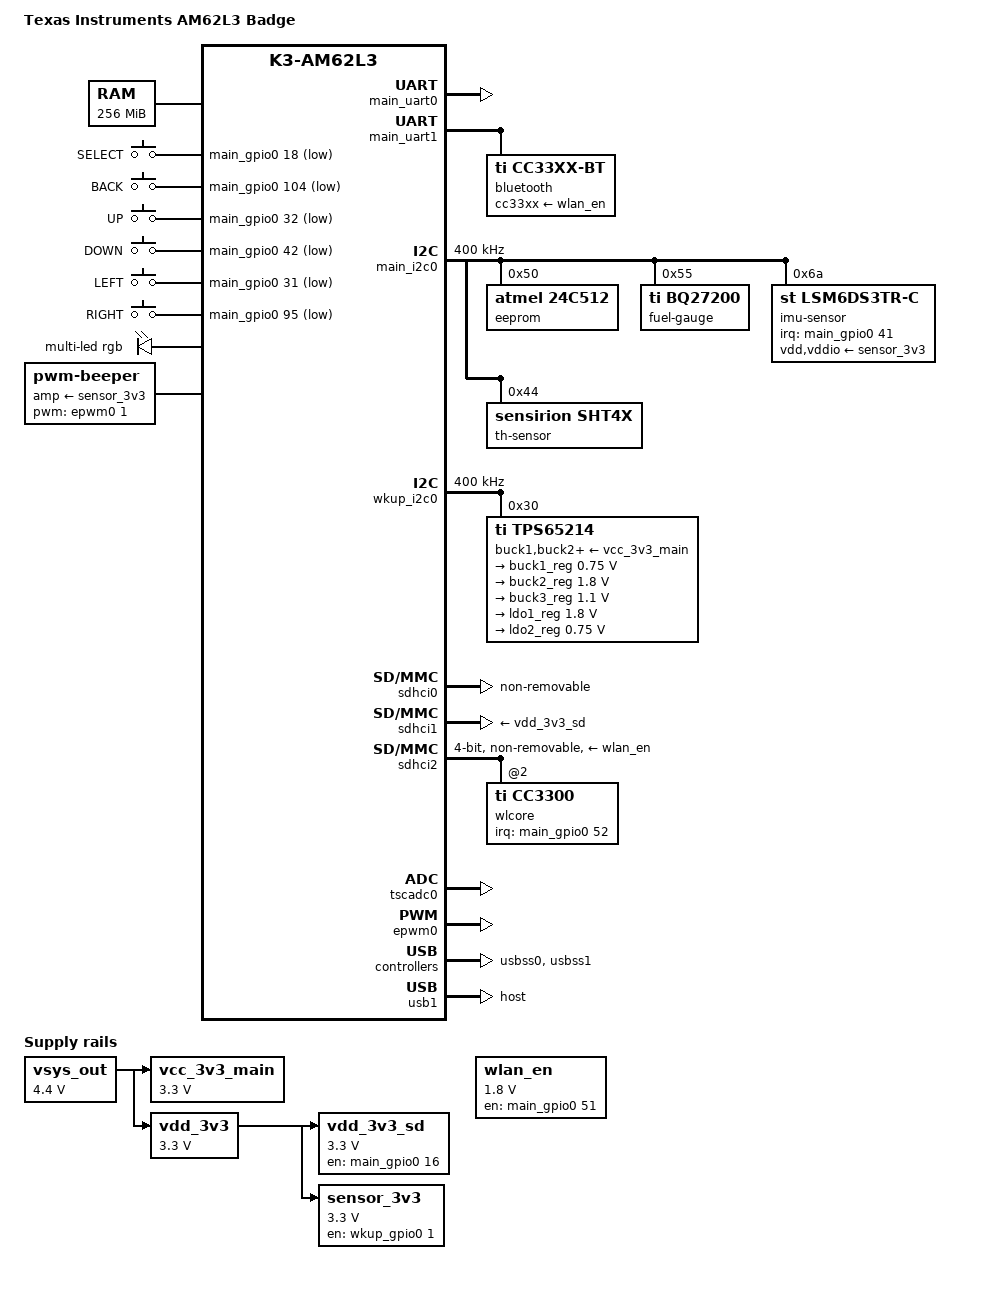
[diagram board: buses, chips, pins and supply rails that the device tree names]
// SPDX-License-Identifier: GPL-2.0-only or MIT
/*
 * Device Tree file for the AM62L3 Badge
 *
 * Copyright (C) 2025 Texas Instruments Incorporated - https://www.ti.com/
 */

/dts-v1/;

#include <dt-bindings/gpio/gpio.h>
#include <dt-bindings/input/input.h>
#include <dt-bindings/leds/common.h>
#include <dt-bindings/net/ti-dp83867.h>
#include "k3-am62l3.dtsi"
#include "k3-pinctrl.h"

/ {
	compatible = "ti,am62l3-badge", "ti,am62l3";
	model = "Texas Instruments AM62L3 Badge";

	aliases {
		gpio0 = &main_gpio0;
		i2c0 = &main_i2c0;
		mmc0 = &sdhci0;
		mmc1 = &sdhci1;
		mmc2 = &sdhci2;
		serial3 = &main_uart1;
		usb0 = &usb0;
		usb1 = &usb1;
	};

	memory@80000000 {
		/* 2Gb */
		reg = <0x00000000 0x80000000 0x00000000 0x10000000>;
		device_type = "memory";
		bootph-all;
	};

	gpio_keys: gpio-keys {
		compatible = "gpio-keys";
		autorepeat;
		pinctrl-names = "default";
		pinctrl-0 = <&main_usr_button_default_pins>;

		button-select {
			label = "SELECT";
			linux,code = <KEY_SELECT>;
			gpios = <&main_gpio0 18 GPIO_ACTIVE_LOW>;
		};

		button-back {
			label = "BACK";
			linux,code = <KEY_BACK>;
			gpios = <&main_gpio0 104 GPIO_ACTIVE_LOW>;
		};

		button-up {
			label = "UP";
			linux,code = <KEY_UP>;
			gpios = <&main_gpio0 32 GPIO_ACTIVE_LOW>;
		};

		button-down {
			label = "DOWN";
			linux,code = <KEY_DOWN>;
			gpios = <&main_gpio0 42 GPIO_ACTIVE_LOW>;
		};

		button-left {
			label = "LEFT";
			linux,code = <KEY_LEFT>;
			gpios = <&main_gpio0 31 GPIO_ACTIVE_LOW>;
		};

		button-right {
			label = "RIGHT";
			linux,code = <KEY_RIGHT>;
			gpios = <&main_gpio0 95 GPIO_ACTIVE_LOW>;
		};
	};

	multicolor-led {
		compatible = "pwm-leds-multicolor";
		pinctrl-names = "default";
		pinctrl-0 = <&rgb_led_default_pins>;

		multi-led {
			color = <LED_COLOR_ID_RGB>;
			max-brightness = <255>;

			led-red {
				pwms = <&ecap2 0 255 0>;
				color = <LED_COLOR_ID_RED>;
			};

			led-green {
				pwms = <&ecap1 0 255 0>;
				color = <LED_COLOR_ID_GREEN>;
			};

			led-blue {
				pwms = <&epwm1 1 255 0>;
				color = <LED_COLOR_ID_BLUE>;
			};
		};
	};

	pwm-beeper {
		compatible = "pwm-beeper";
		pinctrl-names = "default";
		pinctrl-0 = <&main_epwm0_default_pins>;
		pwms = <&epwm0 1 1000000 0>;
		amp-supply = <&sensor_3v3>;
	};

	vsys_out: regulator-0 {
		/* output of BQ24070 */
		compatible = "regulator-fixed";
		regulator-name = "VSYS_OUT";
		regulator-min-microvolt = <4400000>;
		regulator-max-microvolt = <4400000>;
		regulator-always-on;
		regulator-boot-on;
		bootph-all;
	};

	vcc_3v3_main: regulator-1 {
		/* output of TPS62A06 */
		compatible = "regulator-fixed";
		regulator-name = "VCC_3V3_MAIN";
		regulator-min-microvolt = <3300000>;
		regulator-max-microvolt = <3300000>;
		vin-supply = <&vsys_out>;
		regulator-always-on;
		regulator-boot-on;
		bootph-all;
	};

	vdd_3v3: regulator-2 {
		/* output of TPS22965 */
		compatible = "regulator-fixed";
		regulator-name = "VDD_3V3";
		regulator-min-microvolt = <3300000>;
		regulator-max-microvolt = <3300000>;
		vin-supply = <&vsys_out>;
		regulator-always-on;
		regulator-boot-on;
		bootph-all;
	};

	vdd_3v3_sd: regulator-3 {
		/* TPS22918DBVR */
		compatible = "regulator-fixed";
		regulator-name = "VDD_3V3_SD";
		regulator-min-microvolt = <3300000>;
		regulator-max-microvolt = <3300000>;
		vin-supply = <&vdd_3v3>;
		regulator-boot-on;
		enable-active-high;
		gpio = <&main_gpio0 16 GPIO_ACTIVE_HIGH>;
		bootph-all;
	};

	sensor_3v3: regulator-4 {
		/* TPS22918DBVR */
		compatible = "regulator-fixed";
		regulator-name = "Sensor_3V3";
		regulator-min-microvolt = <3300000>;
		regulator-max-microvolt = <3300000>;
		vin-supply = <&vdd_3v3>;
		regulator-boot-on;
		enable-active-high;
		gpio = <&wkup_gpio0 1 GPIO_ACTIVE_HIGH>;
		bootph-all;
	};

	wlan_en: regulator-5 {
		compatible = "regulator-fixed";
		regulator-name = "wlan_en";
		regulator-min-microvolt = <1800000>;
		regulator-max-microvolt = <1800000>;
		enable-active-high;
		gpios = <&main_gpio0 51 GPIO_ACTIVE_HIGH>;
		pinctrl-names = "default";
		pinctrl-0 = <&wlan_en_pins_default>;
	};
};

&pmx0 {
	main_uart0_default_pins: main-uart0-default-pins {
		pinctrl-single,pins = <
			AM62LX_IOPAD(0x01b8, PIN_OUTPUT, 0) /* (C13) UART0_TXD */
			AM62LX_IOPAD(0x01b4, PIN_INPUT, 0) /* (D13) UART0_RXD */
		>;
		bootph-all;
	};

	main_uart0_wakeup_pins: main-uart0-wakeup-pins {
		pinctrl-single,pins = <
			AM62LX_IOPAD(0x01b8, PIN_OUTPUT, 0) /* (C13) UART0_TXD */
			AM62LX_IOPAD(0x01b4, PIN_INPUT | PIN_WKUP_EN, 0) /* (D13) UART0_RXD */
		>;
	};

	main_uart1_default_pins: main-uart1-default-pins {
		pinctrl-single,pins = <
			AM62LX_IOPAD(0x019c, PIN_OUTPUT, 2) /* (A12) UART1_TXD */
			AM62LX_IOPAD(0x0198, PIN_INPUT, 2) /* (C11) UART1_RXD */
			AM62LX_IOPAD(0x0180, PIN_INPUT, 2) /* (A8) UART1_CTS */
			AM62LX_IOPAD(0x0184, PIN_OUTPUT, 2) /* (B10) UART1_RTS */
		>;
	};

	main_usr_button_default_pins: main-usr_button-default-pins {
		pinctrl-single,pins = <
			AM62LX_IOPAD(0x0084, PIN_INPUT, 7) /* (J23) GPMC0_AD3.GPIO0_18 | SELECT */
			AM62LX_IOPAD(0x0090, PIN_INPUT, 7) /* (H23) GPMC0_AD6.GPIO0_21 | SELECT */
			AM62LX_IOPAD(0x00a4, PIN_INPUT, 7) /* (H18) GPMC0_AD11.GPIO0_26 | SELECT */
			AM62LX_IOPAD(0x01e4, PIN_INPUT, 7) /* (D16) EXT_REFCLK1.GPIO0_104 | BACK*/
			AM62LX_IOPAD(0x00c0, PIN_INPUT, 7) /* (N19) GPMC0_ADVn_ALE.GPIO0_32 | UP */
			AM62LX_IOPAD(0x00e8, PIN_INPUT, 7) /* (L19) GPMC0_CSn1.GPIO0_42 | DOWN */
			AM62LX_IOPAD(0x00b8, PIN_INPUT, 7) /* (L21) GPMC0_CLK.GPIO0_31 | LEFT */
			AM62LX_IOPAD(0x01c0, PIN_INPUT, 7) /* (B13) UART0_RTSn.GPIO0_95 | RIGHT */
		>;
	};

	main_i2c0_default_pins: main-i2c0-default-pins {
		pinctrl-single,pins = <
			AM62LX_IOPAD(0x01cc, PIN_INPUT_PULLUP, 0) /* (B7) I2C0_SCL */
			AM62LX_IOPAD(0x01d0, PIN_INPUT_PULLUP, 0) /* (A7) I2C0_SDA */
		>;
	};

	main_mmc0_default_pins: main-mmc0-default-pins {
		pinctrl-single,pins = <
			AM62LX_IOPAD(0x0214, PIN_INPUT, 0) /* (D2) MMC0_CMD */
			AM62LX_IOPAD(0x020c, PIN_OUTPUT, 0) /* (B2) MMC0_CLK */
			AM62LX_IOPAD(0x0208, PIN_INPUT, 0) /* (D3) MMC0_DAT0 */
			AM62LX_IOPAD(0x0204, PIN_INPUT_PULLUP, 0) /* (D4) MMC0_DAT1 */
			AM62LX_IOPAD(0x0200, PIN_INPUT_PULLUP, 0) /* (C1) MMC0_DAT2 */
			AM62LX_IOPAD(0x01fc, PIN_INPUT_PULLUP, 0) /* (C2) MMC0_DAT3 */
			AM62LX_IOPAD(0x01f8, PIN_INPUT_PULLUP, 0) /* (C4) MMC0_DAT4 */
			AM62LX_IOPAD(0x01f4, PIN_INPUT_PULLUP, 0) /* (B3) MMC0_DAT5 */
			AM62LX_IOPAD(0x01f0, PIN_INPUT_PULLUP, 0) /* (A3) MMC0_DAT6 */
			AM62LX_IOPAD(0x01ec, PIN_INPUT_PULLUP, 0) /* (B4) MMC0_DAT7 */
		>;
		bootph-all;
	};

	main_mmc1_default_pins: main-mmc1-default-pins {
		pinctrl-single,pins = <
			AM62LX_IOPAD(0x0230, PIN_INPUT, 0) /* (Y3) MMC1_CMD */
			AM62LX_IOPAD(0x0228, PIN_OUTPUT, 0) /* (Y2) MMC1_CLK */
			AM62LX_IOPAD(0x0224, PIN_INPUT, 0) /* (AA1) MMC1_DAT0 */
			AM62LX_IOPAD(0x0220, PIN_INPUT, 0) /* (Y4) MMC1_DAT1 */
			AM62LX_IOPAD(0x021c, PIN_INPUT, 0) /* (AA2) MMC1_DAT2 */
			AM62LX_IOPAD(0x0218, PIN_INPUT, 0) /* (AB2) MMC1_DAT3 */
			AM62LX_IOPAD(0x0234, PIN_INPUT, 0) /* (B6) MMC1_SDCD */
		>;
		bootph-all;
	};

	main_mmc2_pins_default: main-mmc2-default-pins {
		pinctrl-single,pins = <
			AM62LX_IOPAD(0x010c, PIN_INPUT, 0) /* (U23) MMC2_CMD */
			AM62LX_IOPAD(0x0104, PIN_OUTPUT, 0) /* (R23) MMC2_CLK */
			AM62LX_IOPAD(0x0108, PIN_INPUT, 0) /* () MMC2_CLKLB */
			AM62LX_IOPAD(0x0100, PIN_INPUT, 0) /* (U22) MMC2_DAT0 */
			AM62LX_IOPAD(0x00fc, PIN_INPUT, 0) /* (T22) MMC2_DAT1 */
			AM62LX_IOPAD(0x00f8, PIN_INPUT, 0) /* (T23) MMC2_DAT2 */
			AM62LX_IOPAD(0x00f4, PIN_INPUT, 0) /* (R22) MMC2_DAT3 */
		>;
	};

	wlan_en_pins_default: wlan-en-pins-default {
		pinctrl-single,pins = <
			AM62LX_IOPAD(0x0110, PIN_OUTPUT, 7) /* (T20) MMC2_SDCD.GPIO0_51 */
		>;
	};

	main_wlirq_pins_default: main-wlirq-pins-default {
		pinctrl-single,pins = <
			AM62LX_IOPAD(0x0114, PIN_INPUT, 7) /* (T21) MMC2_SDWP.GPIO0_52 */
		>;
	};

	main_usb1_default_pins: main-usb1-default-pins {
		pinctrl-single,pins = <
			AM62LX_IOPAD(0x0248, PIN_INPUT | PIN_DS_PULLUD_ENABLE | PIN_DS_PULL_UP, 0) /* (A5) USB1_DRVVBUS */
		>;
	};

	main_epwm0_default_pins: main-epwm2-default-pins {
		pinctrl-single,pins = <
			AM62LX_IOPAD(0x00b0, PIN_OUTPUT, 4) /* (F22) GPMC0_AD14.EHRPWM0_B */
		>;
	};

	pmic_irq_default_pins: pmic-irq-default-pins {
		pinctrl-single,pins = <
			AM62LX_IOPAD(0x01e8, PIN_INPUT, 0) /* (C8) EXTINTn */
		>;
	};

	imu_irq_default_pins: imu_irq-default-pins {
		pinctrl-single,pins = <
			AM62LX_IOPAD(0x00e4, PIN_INPUT, 7) /* (L20) GPMC0_CSn0.GPIO0_41 */
		>;
	};

	light_irq_default_pins: light_irq-default-pins {
		pinctrl-single,pins = <
			AM62LX_IOPAD(0x00e8, PIN_INPUT, 7) /* (L19) GPMC0_CSn1.GPIO0_42 */
		>;
	};

	wkup_i2c0_default_pins: wkup-i2c0-default-pins {
		pinctrl-single,pins = <
			AM62LX_IOPAD(0x0010, PIN_INPUT_PULLUP, 0) /* (AB22) WKUP_I2C0_SCL */
			AM62LX_IOPAD(0x0014, PIN_INPUT_PULLUP, 0) /* (AA22) WKUP_I2C0_SDA */
		>;
	};

	rgb_led_default_pins: rgb-led-default-pins {
		pinctrl-single,pins = <
			AM62LX_IOPAD(0x0190, PIN_OUTPUT, 2) /* (A11) MCASP0_ACLKX.ECAP2_IN_APWM_OUT */
			AM62LX_IOPAD(0x0188, PIN_OUTPUT, 2) /* (A9) MCASP0_AXR1.ECAP1_IN_APWM_OUT */
			AM62LX_IOPAD(0x018c, PIN_OUTPUT, 5) /* (B9) MCASP0_AXR0.EHRPWM1_B */
		>;
	};
};

&main_uart0 {
	status = "okay";
	pinctrl-names = "default", "wakeup";
	pinctrl-0 = <&main_uart0_default_pins>;
	pinctrl-1 = <&main_uart0_wakeup_pins>;
	wakeup-source  = <&system_deep_sleep>;
	bootph-all;
};

&main_uart1 {
	status = "okay";
	pinctrl-names = "default";
	pinctrl-0 = <&main_uart1_default_pins>;
	bootph-all;

	bluetooth {
		compatible = "ti,cc33xx-bt";
		cc33xx-supply = <&wlan_en>;
		max-speed = <115200>;
	};
};

&main_i2c0 {
	status = "okay";
	pinctrl-names = "default";
	pinctrl-0 = <&main_i2c0_default_pins>;
	clock-frequency = <400000>;
	bootph-all;

	/* EEPROM */
	eeprom@50 {
		/* FT24C32A-ELRT */
		compatible = "atmel,24c512";
		reg = <0x50>;
	};

	/* Fuel Gauge */
	fuel-gauge@55 {
		compatible = "ti,bq27200";
		reg = <0x55>;
	};

	/* IMU Sensor */
	imu-sensor@6a {
		compatible = "st,lsm6ds3tr-c";
		reg = <0x6a>;
		pinctrl-names = "default";
		pinctrl-0 = <&imu_irq_default_pins>;
		interrupts-extended = <&main_gpio0 41 IRQ_TYPE_EDGE_RISING>;
		vdd-supply = <&sensor_3v3>;
		vddio-supply = <&sensor_3v3>;
	};

	/* T&H Sensor */
	th-sensor@44 {
		compatible = "sensirion,sht4x";
		reg = <0x44>;
	};
};

&wkup_i2c0 {
	clock-frequency = <400000>;
	pinctrl-names = "default";
	pinctrl-0 = <&wkup_i2c0_default_pins>;
	status = "okay";

	tps65214: pmic@30 {
		compatible = "ti,tps65214";
		reg = <0x30>;
		interrupt-parent = <&gic500>;
		interrupts = <GIC_SPI 224 IRQ_TYPE_LEVEL_HIGH>;
		pinctrl-names = "default";
		pinctrl-0 = <&pmic_irq_default_pins>;
		ti,power-button;

		buck1-supply = <&vcc_3v3_main>;
		buck2-supply = <&vcc_3v3_main>;
		buck3-supply = <&vcc_3v3_main>;
		ldo1-supply = <&vcc_3v3_main>;
		ldo2-supply = <&vcc_3v3_main>;

		regulators {
			buck1_reg: buck1 {
				regulator-name = "VDD_CORE";
				regulator-min-microvolt = <750000>;
				regulator-max-microvolt = <750000>;
				regulator-always-on;
				regulator-boot-on;
			};

			buck2_reg: buck2 {
				regulator-name = "VDD_1V8";
				regulator-min-microvolt = <1800000>;
				regulator-max-microvolt = <1800000>;
				regulator-always-on;
				regulator-boot-on;
			};

			buck3_reg: buck3 {
				regulator-name = "VDD_LPDDR4";
				regulator-min-microvolt = <1100000>;
				regulator-max-microvolt = <1100000>;
				regulator-always-on;
				regulator-boot-on;
			};

			ldo1_reg: ldo1 {
				regulator-name = "VDDA_1V8";
				regulator-min-microvolt = <1800000>;
				regulator-max-microvolt = <1800000>;
				regulator-always-on;
				regulator-boot-on;
			};

			ldo2_reg: ldo2 {
				regulator-name = "PMIC_VDD_RTC";
				regulator-min-microvolt = <750000>;
				regulator-max-microvolt = <750000>;
				regulator-always-on;
				regulator-boot-on;
			};
		};
	};
};

&main_gpio0 {
	status = "okay";
	bootph-all;
};

&main_gpio2 {
	status = "okay";
	bootph-all;
};

&sdhci0 {
	/* eMMC */
	non-removable;
	pinctrl-names = "default";
	pinctrl-0 = <&main_mmc0_default_pins>;
	status = "okay";
	bootph-all;
};

&sdhci1 {
	/* SD/MMC */
	vmmc-supply = <&vdd_3v3_sd>;
	pinctrl-names = "default";
	pinctrl-0 = <&main_mmc1_default_pins>;
	disable-wp;
	status = "okay";
	bootph-all;
};

&sdhci2 {
	vmmc-supply = <&wlan_en>;
	pinctrl-names = "default";
	pinctrl-0 = <&main_mmc2_pins_default>;
	bus-width = <4>;
	non-removable;
	ti,fails-without-test-cd;
	cap-power-off-card;
	keep-power-in-suspend;
	ti,driver-strength-ohm = <50>;
	#address-cells = <1>;
	#size-cells = <0>;
	status = "okay";

	wlcore: wlcore@2 {
		compatible = "ti,cc3300";
		reg = <2>;
		pinctrl-names = "default";
		pinctrl-0 = <&main_wlirq_pins_default>;
		interrupt-parent = <&main_gpio0>;
		interrupts = <52 IRQ_TYPE_EDGE_FALLING>;
	};
};

&tscadc0 {
	status = "okay";

	adc {
	ti,adc-channels = <0 /* V20 (Battery) */
			   1 /* V22 (MikroBus) */
			   2 /* V23 (Light Sensor) */
			   3 /* V21 (J28 Header) */
			   >;
	};
};

&epwm0 {
	pinctrl-names = "default";
	pinctrl-0 = <&main_epwm0_default_pins>;
	status = "okay";
};

&usbss0 {
	ti,vbus-divider;
	status = "okay";
};

&usb0 {
	usb-role-switch;
};

&usbss1 {
	ti,vbus-divider;
	status = "okay";
	bootph-all;
};

&usb1 {
	dr_mode = "host";
	pinctrl-names = "default";
	pinctrl-0 = <&main_usb1_default_pins>;
	bootph-all;
};
